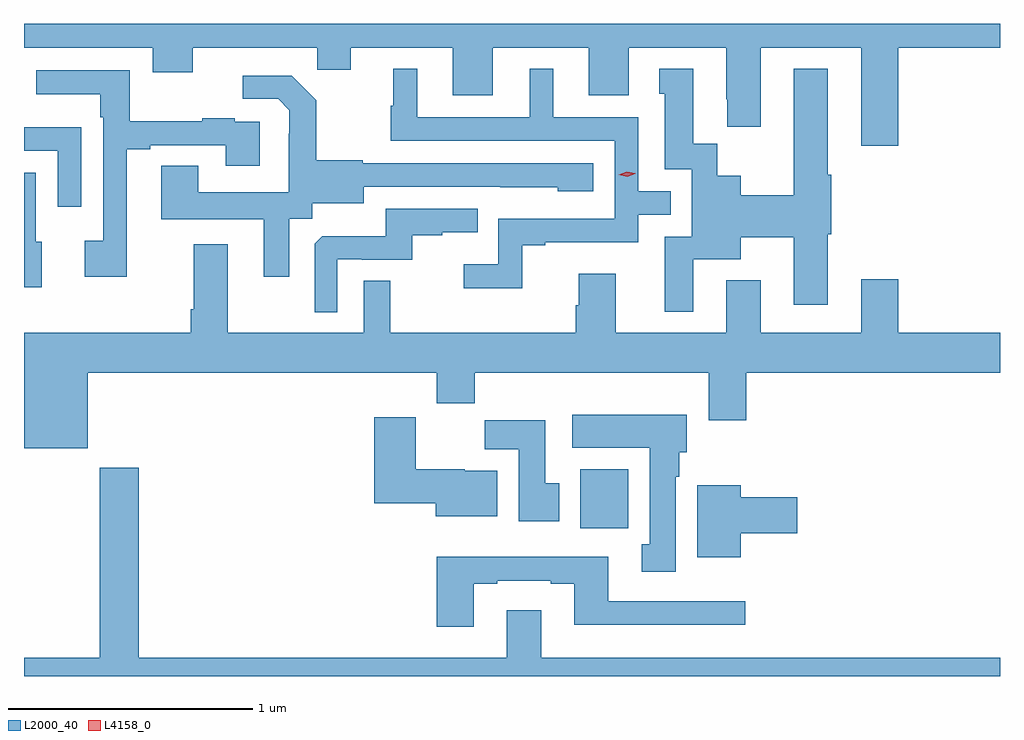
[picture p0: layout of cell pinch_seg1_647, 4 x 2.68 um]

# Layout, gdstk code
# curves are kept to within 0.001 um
import gdstk
lib = gdstk.Library(unit=1e-6, precision=1e-09)
def R(c, l, rs):  # rectangles x0, y0, x1, y1
    for r in rs: c.add(gdstk.rectangle(r[:2], r[2:], *l))
def P(c, l, *ps):  # polygons
    for p in ps: c.add(gdstk.Polygon(p, *l))
L2000_40 = (2000, 40)
L4158_0 = (4158, 0)

pinch_seg1_647 = lib.new_cell('pinch_seg1_647')
R(pinch_seg1_647, L2000_40, [(771.569,581.732,771.766,581.974)])
P(pinch_seg1_647, L2000_40, [(772.874,583.7),(773.29,583.7),(773.29,583.8),(769.29,583.8),(769.29,583.7),(769.817,583.7),(769.817,583.601),(769.981,583.601),(769.981,583.7),(770.491,583.7),(770.491,583.61),(770.629,583.61),(770.629,583.7),(771.047,583.7),(771.047,583.506),(771.211,583.506),(771.211,583.7),(771.605,583.7),(771.605,583.506),(771.769,583.506),(771.769,583.7),(772.169,583.7),(772.169,583.489),(772.172,583.489),(772.172,583.377),(772.309,583.377),(772.309,583.7),(772.721,583.7),(772.721,583.299),(772.874,583.299)],
  [(771.333,582.891),(771.427,582.891),(771.427,582.903),(771.807,582.903),(771.807,583.017),(771.94,583.017),(771.94,583.113),(771.807,583.113),(771.807,583.416),(771.46,583.416),(771.46,583.615),(771.362,583.615),(771.362,583.416),(770.902,583.416),(770.902,583.615),(770.804,583.615),(770.804,583.464),(770.793,583.464),(770.793,583.32),(771.711,583.32),(771.711,582.999),(771.234,582.999),(771.234,582.814),(771.093,582.814),(771.093,582.716),(771.333,582.716)],
  [(772.033,582.833),(772.228,582.833),(772.228,582.925),(772.445,582.925),(772.445,582.648),(772.585,582.648),(772.585,582.936),(772.598,582.936),(772.598,583.18),(772.585,583.18),(772.585,583.615),(772.445,583.615),(772.445,583.097),(772.228,583.097),(772.228,583.177),(772.131,583.177),(772.131,583.307),(772.033,583.307),(772.033,583.615),(771.893,583.615),(771.893,583.512),(771.917,583.512),(771.917,583.203),(772.026,583.203),(772.026,582.927),(771.917,582.927),(771.917,582.618),(772.033,582.618)],
  [(769.711,583.284),(769.807,583.284),(769.807,583.302),(770.117,583.302),(770.117,583.218),(770.257,583.218),(770.257,583.398),(770.153,583.398),(770.153,583.411),(770.021,583.411),(770.021,583.4),(769.723,583.4),(769.723,583.608),(769.341,583.608),(769.341,583.511),(769.602,583.511),(769.602,583.415),(769.614,583.415),(769.614,582.91),(769.539,582.91),(769.539,582.762),(769.711,582.762)],
  [(770.377,583),(770.472,583),(770.472,583.064),(770.683,583.064),(770.683,583.131),(771.477,583.13),(771.477,583.112),(771.622,583.112),(771.622,583.227),(770.679,583.227),(770.679,583.24),(770.487,583.24),(770.487,583.485),(770.387,583.585),(770.187,583.585),(770.187,583.491),(770.331,583.491),(770.378,583.444),(770.378,583.349),(770.376,583.349),(770.376,583.108),(770.005,583.108),(770.005,583.217),(769.853,583.217),(769.853,582.998),(770.273,582.998),(770.273,582.762),(770.377,582.762)],
  [(769.524,583.375),(769.29,583.375),(769.29,583.278),(769.428,583.278),(769.428,583.05),(769.524,583.05)],
  [(769.363,582.906),(769.338,582.906),(769.338,583.188),(769.29,583.188),(769.29,582.719),(769.363,582.719)],
  [(770.574,582.834),(770.674,582.834),(770.674,582.831),(770.882,582.831),(770.882,582.933),(771.005,582.933),(771.005,582.944),(771.149,582.944),(771.149,583.041),(770.772,583.041),(770.772,582.929),(770.513,582.929),(770.481,582.897),(770.481,582.617),(770.574,582.617)],
  [(769.552,582.368),(770.981,582.368),(770.981,582.244),(771.137,582.244),(771.137,582.368),(772.097,582.368),(772.097,582.174),(772.25,582.174),(772.25,582.368),(773.29,582.368),(773.29,582.532),(772.874,582.532),(772.874,582.751),(772.721,582.751),(772.721,582.532),(772.309,582.532),(772.309,582.748),(772.169,582.748),(772.169,582.532),(771.715,582.532),(771.715,582.775),(771.563,582.775),(771.563,582.645),(771.551,582.645),(771.551,582.532),(770.791,582.532),(770.791,582.746),(770.682,582.746),(770.682,582.532),(770.125,582.532),(770.125,582.895),(769.985,582.895),(769.985,582.628),(769.973,582.628),(769.973,582.532),(769.29,582.532),(769.29,582.059),(769.552,582.059)],
  [(771.961,581.942),(771.976,581.942),(771.976,582.042),(772.006,582.042),(772.006,582.196),(771.537,582.196),(771.537,582.062),(771.854,582.062),(771.854,581.666),(771.821,581.666),(771.821,581.553),(771.961,581.553)],
  [(771.229,581.968),(771.096,581.968),(771.096,581.974),(770.896,581.974),(770.896,582.187),(770.726,582.187),(770.726,581.834),(770.978,581.834),(770.978,581.78),(771.229,581.78)],
  [(771.484,581.916),(771.427,581.916),(771.427,582.175),(771.178,582.175),(771.178,582.056),(771.317,582.056),(771.317,581.76),(771.484,581.76)],
  [(773.29,581.2),(771.409,581.2),(771.409,581.395),(771.269,581.395),(771.269,581.2),(769.76,581.2),(769.76,581.98),(769.6,581.98),(769.6,581.2),(769.29,581.2),(769.29,581.124),(773.29,581.124)],
  [(772.228,581.711),(772.459,581.711),(772.459,581.858),(772.228,581.858),(772.228,581.908),(772.049,581.908),(772.049,581.612),(772.228,581.612)],
  [(771.133,581.505),(771.229,581.505),(771.229,581.517),(771.449,581.517),(771.449,581.505),(771.545,581.505),(771.545,581.336),(772.246,581.336),(772.246,581.433),(771.685,581.433),(771.685,581.614),(770.981,581.614),(770.981,581.328),(771.133,581.328)])
P(pinch_seg1_647, L4158_0, [(771.762,583.173),(771.727,583.18),(771.727,583.18),(771.727,583.18),(771.76,583.193),(771.795,583.186),(771.796,583.185),(771.795,583.185)])

lib.write_gds('pinch_seg1_647.gds')
